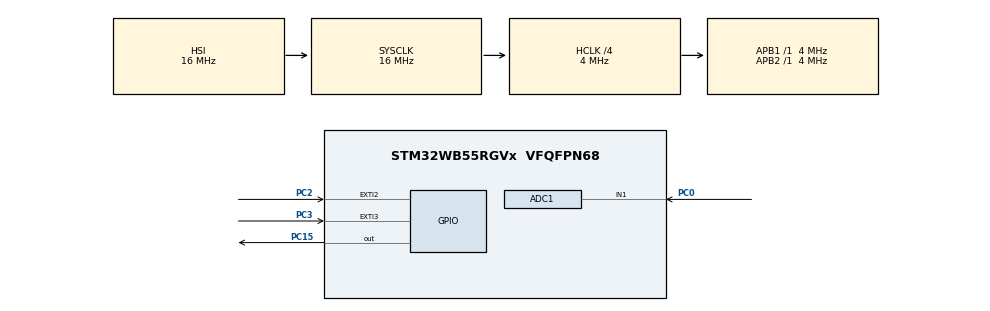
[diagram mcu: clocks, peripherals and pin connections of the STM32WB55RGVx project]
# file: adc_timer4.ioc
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ADC1.ContinuousConvMode=ENABLE
ADC1.ExternalTrigConv=ADC_SOFTWARE_START
ADC1.NbrOfConversionFlag=1
ADC1.Overrun=ADC_OVR_DATA_OVERWRITTEN
ADC1.master=1
Mcu.Family=STM32WB
Mcu.Name=STM32WB55RGVx
Mcu.Package=VFQFPN68
NVIC.ADC1_IRQn=true\:3\:0\:true\:false\:true\:true\:true\:true
NVIC.EXTI2_IRQn=true\:1\:0\:true\:false\:true\:true\:true\:true
NVIC.EXTI3_IRQn=true\:2\:0\:true\:false\:true\:true\:true\:true
NVIC.PriorityGroup=NVIC_PRIORITYGROUP_4
OSC_IN.Mode=HSE-External-Oscillator
OSC_IN.Signal=RCC_OSC_IN
OSC_OUT.Mode=HSE-External-Oscillator
OSC_OUT.Signal=RCC_OSC_OUT
PC0.Signal=ADCx_IN1
PC15-OSC32_OUT.Signal=GPIO_Output
PC2.Signal=GPXTI2
PC3.Signal=GPXTI3
ProjectManager.HeapSize=0x200
ProjectManager.StackSize=0x400
ProjectManager.TargetToolchain=STM32CubeIDE
RCC.ADCFreq_Value=48000000
RCC.AHB2CLKDivider=RCC_SYSCLK_DIV4
RCC.AHBCLKDivider=RCC_SYSCLK_DIV4
RCC.AHBFreq_Value=4000000
RCC.APB1Freq_Value=4000000
RCC.APB1TimFreq_Value=4000000
RCC.APB2Freq_Value=4000000
RCC.APB2TimFreq_Value=4000000
RCC.APB3Freq_Value=16000000
RCC.Cortex2_Div=SYSTICK_CLKSOURCE_HCLK_DIV8
RCC.CortexFreq_Value=4000000
RCC.HCLKFreq_Value=4000000
RCC.HSE_VALUE=32000000
RCC.HSI48_VALUE=48000000
RCC.HSI_VALUE=16000000
RCC.LSE_VALUE=32768
RCC.PLLSAI1N=6
RCC.PLLSourceVirtual=RCC_PLLSOURCE_HSI
RCC.SMPSCLockSelection=RCC_SMPSCLKSOURCE_HSI
RCC.SMPSCLockSelectionVirtual=RCC_SMPSCLKSOURCE_HSI
RCC.SMPSCLockSelectionVirtualVirtual=RCC_SMPSCLKSOURCE_HSI
RCC.SMPSDivider=1
RCC.SYSCLKFreq_VALUE=16000000
RCC.SYSCLKSource=RCC_SYSCLKSOURCE_HSI
RCC.USBFreq_Value=48000000
RCC.VCOOutputFreq_Value=128000000
SH.ADCx_IN1.0=ADC1_IN1,IN1-Single-Ended
VP_MEMORYMAP_VS_MEMORYMAP.Mode=CurAppReg
VP_TIM16_VS_ClockSourceINT.Mode=Enable_Timer
VP_TIM17_VS_ClockSourceINT.Mode=Enable_Timer
board=P-NUCLEO-WB55-NUCLEO

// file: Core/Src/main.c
/* USER CODE BEGIN Header */
/**
  ******************************************************************************
  * @file           : main.c
  * @brief          : Main program body
  ******************************************************************************
  * @attention
  *
  * Copyright (c) 2025 STMicroelectronics.
  * All rights reserved.
  *
  * This software is licensed under terms that can be found in the LICENSE file
  * in the root directory of this software component.
  * If no LICENSE file comes with this software, it is provided AS-IS.
  *
  ******************************************************************************
  */
/* USER CODE END Header */
#include "main.h"

/* USER CODE BEGIN PTD */
typedef struct  {
	uint32_t pDeltaTime;
	uint32_t pCurrentTime;
	uint32_t pLastTime;
	uint32_t pFrequency;

}WATERFLOWIN1;

WATERFLOWIN1 waterflowin1;
typedef struct  {
	uint32_t pDeltaTime;
	uint32_t pCurrentTime;
	uint32_t pLastTime;
	uint32_t pFrequency;

}WATERFLOWIN2;

WATERFLOWIN2 waterflowin2;
/* USER CODE END PTD */

ADC_HandleTypeDef hadc1;

TIM_HandleTypeDef htim16;
TIM_HandleTypeDef htim17;

/* USER CODE BEGIN PV */
volatile uint32_t AD_RES = 0;
float constant = 62500.0;

//volatile uint32_t tim16_count = 0;
//volatile uint32_t tim17_count = 0;

/* USER CODE END PV */

void SystemClock_Config(void);
void PeriphCommonClock_Config(void);
static void MX_GPIO_Init(void);
static void MX_ADC1_Init(void);
static void MX_TIM16_Init(void);
static void MX_TIM17_Init(void);
/* USER CODE BEGIN PFP */
void Delay_ms(uint32_t Count)
{
    uint32_t i=0;
    for(i =0; i< Count; i++)
    {

    }
}
/* USER CODE END PFP */

/* USER CODE BEGIN 0 */
void HAL_GPIO_EXTI_Callback(uint16_t GPIO_Pin)
{
    if (GPIO_Pin == GPIO_PIN_2)
    {

    //do some task

    }
    else if (GPIO_Pin == GPIO_PIN_3)
    {
    	//do some task
    }
    __HAL_GPIO_EXTI_CLEAR_IT(GPIO_Pin);

}

//void HAL_TIM_PeriodElapsedCallback(TIM_HandleTypeDef *htim)
//{
//    if (htim->Instance == TIM16)
//    {
//
//    	tim16_count = TIM16->CNT;
//    	cnt1++;
//
//    }
//    else if (htim->Instance == TIM17){
//    	tim17_count = TIM17->CNT;
//    	cnt2++;
//    }
//
//}

//
//void HAL_ADC_ConvCpltCallback(ADC_HandleTypeDef* hadc)
//{
//    if (hadc->Instance == ADC1)
//    {
//        AD_RES = HAL_ADC_GetValue(hadc);
//
//    }
//}

/* USER CODE END 0 */

int main(void)
{

  /* MCU Configuration--------------------------------------------------------*/

  /* Reset of all peripherals, Initializes the Flash interface and the Systick. */
  HAL_Init();

  /* Configure the system clock */
  SystemClock_Config();

  /* Configure the peripherals common clocks */
  PeriphCommonClock_Config();

  /* Initialize all configured peripherals */
  MX_GPIO_Init();
  MX_ADC1_Init();
  MX_TIM16_Init();
  MX_TIM17_Init();
  /* USER CODE BEGIN 2 */

  //HAL_ADC_Start_IT(&hadc1);

  HAL_TIM_Base_Start(&htim16);
  HAL_TIM_Base_Start(&htim17);

  HAL_GPIO_WritePin(GPIOC, GPIO_PIN_2, GPIO_PIN_RESET);
  HAL_GPIO_WritePin(GPIOC, GPIO_PIN_3, GPIO_PIN_RESET);

  // Start ADC Conversion
  /* USER CODE END 2 */

  /* Infinite loop */
  while (1)
  {
		//1.START the ADC.
		HAL_ADC_Start(&hadc1);

		//2.poll for conversion
		if (HAL_ADC_PollForConversion(&hadc1, 100) == HAL_OK)
                {

                // 3. Read ADC value only if conversion was successful
		AD_RES = HAL_ADC_GetValue(&hadc1);

		}

		//4.STOP the ADC
		HAL_ADC_Stop(&hadc1);
		HAL_GPIO_TogglePin(GPIOC, GPIO_PIN_15);
		Delay_ms(AD_RES*100);

  }
}

void SystemClock_Config(void)
{
  RCC_OscInitTypeDef RCC_OscInitStruct = {0};
  RCC_ClkInitTypeDef RCC_ClkInitStruct = {0};

  /** Macro to configure the PLL multiplication factor
  */
  __HAL_RCC_PLL_PLLM_CONFIG(RCC_PLLM_DIV1);

  /** Macro to configure the PLL clock source
  */
  __HAL_RCC_PLL_PLLSOURCE_CONFIG(RCC_PLLSOURCE_HSI);

  /** Configure the main internal regulator output voltage
  */
  __HAL_PWR_VOLTAGESCALING_CONFIG(PWR_REGULATOR_VOLTAGE_SCALE1);

  /** Initializes the RCC Oscillators according to the specified parameters
  * in the RCC_OscInitTypeDef structure.
  */
  RCC_OscInitStruct.OscillatorType = RCC_OSCILLATORTYPE_HSI|RCC_OSCILLATORTYPE_HSE;
  RCC_OscInitStruct.HSEState = RCC_HSE_ON;
  RCC_OscInitStruct.HSIState = RCC_HSI_ON;
  RCC_OscInitStruct.HSICalibrationValue = RCC_HSICALIBRATION_DEFAULT;
  RCC_OscInitStruct.PLL.PLLState = RCC_PLL_NONE;
  if (HAL_RCC_OscConfig(&RCC_OscInitStruct) != HAL_OK)
  {
    Error_Handler();
  }

  /** Configure the SYSCLKSource, HCLK, PCLK1 and PCLK2 clocks dividers
  */
  RCC_ClkInitStruct.ClockType = RCC_CLOCKTYPE_HCLK4|RCC_CLOCKTYPE_HCLK2
                              |RCC_CLOCKTYPE_HCLK|RCC_CLOCKTYPE_SYSCLK
                              |RCC_CLOCKTYPE_PCLK1|RCC_CLOCKTYPE_PCLK2;
  RCC_ClkInitStruct.SYSCLKSource = RCC_SYSCLKSOURCE_HSI;
  RCC_ClkInitStruct.AHBCLKDivider = RCC_SYSCLK_DIV4;
  RCC_ClkInitStruct.APB1CLKDivider = RCC_HCLK_DIV1;
  RCC_ClkInitStruct.APB2CLKDivider = RCC_HCLK_DIV1;
  RCC_ClkInitStruct.AHBCLK2Divider = RCC_SYSCLK_DIV4;
  RCC_ClkInitStruct.AHBCLK4Divider = RCC_SYSCLK_DIV1;

  if (HAL_RCC_ClockConfig(&RCC_ClkInitStruct, FLASH_LATENCY_0) != HAL_OK)
  {
    Error_Handler();
  }
}

void PeriphCommonClock_Config(void)
{
  RCC_PeriphCLKInitTypeDef PeriphClkInitStruct = {0};

  /** Initializes the peripherals clock
  */
  PeriphClkInitStruct.PeriphClockSelection = RCC_PERIPHCLK_SMPS;
  PeriphClkInitStruct.SmpsClockSelection = RCC_SMPSCLKSOURCE_HSI;
  PeriphClkInitStruct.SmpsDivSelection = RCC_SMPSCLKDIV_RANGE0;

  if (HAL_RCCEx_PeriphCLKConfig(&PeriphClkInitStruct) != HAL_OK)
  {
    Error_Handler();
  }
}

static void MX_ADC1_Init(void)
{

  /* USER CODE BEGIN ADC1_Init 0 */
	 ADC_ChannelConfTypeDef sConfig = {0};
  /* USER CODE END ADC1_Init 0 */

  /** Common config
  */
  hadc1.Instance = ADC1;
  hadc1.Init.ClockPrescaler = ADC_CLOCK_ASYNC_DIV1;
  hadc1.Init.Resolution = ADC_RESOLUTION_12B;
  hadc1.Init.DataAlign = ADC_DATAALIGN_RIGHT;
  hadc1.Init.ScanConvMode = ADC_SCAN_DISABLE;
  hadc1.Init.EOCSelection = ADC_EOC_SINGLE_CONV;
  hadc1.Init.LowPowerAutoWait = DISABLE;
  hadc1.Init.ContinuousConvMode = ENABLE;
  hadc1.Init.NbrOfConversion = 1;
  hadc1.Init.DiscontinuousConvMode = DISABLE;
  hadc1.Init.ExternalTrigConv = ADC_SOFTWARE_START;
  hadc1.Init.ExternalTrigConvEdge = ADC_EXTERNALTRIGCONVEDGE_NONE;
  hadc1.Init.DMAContinuousRequests = DISABLE;
  hadc1.Init.Overrun = ADC_OVR_DATA_OVERWRITTEN;
  hadc1.Init.OversamplingMode = DISABLE;
  if (HAL_ADC_Init(&hadc1) != HAL_OK)
  {
    Error_Handler();
  }
  /* USER CODE BEGIN ADC1_Init 2 */
   sConfig.Channel = ADC_CHANNEL_1;  // Choose the correct channel where you connected 3.3V
   sConfig.Rank = ADC_REGULAR_RANK_1;
   sConfig.SamplingTime = ADC_SAMPLETIME_2CYCLES_5;
   sConfig.SingleDiff = ADC_SINGLE_ENDED;
   sConfig.OffsetNumber = ADC_OFFSET_NONE;
   sConfig.Offset = 0;
   if (HAL_ADC_ConfigChannel(&hadc1, &sConfig) != HAL_OK)
   {
     Error_Handler();
   }
  /* USER CODE END ADC1_Init 2 */

}

static void MX_TIM16_Init(void)
{

  htim16.Instance = TIM16;
  htim16.Init.Prescaler = 64;
  htim16.Init.CounterMode = TIM_COUNTERMODE_UP;
  htim16.Init.Period = 65535;
  htim16.Init.ClockDivision = TIM_CLOCKDIVISION_DIV1;
  htim16.Init.RepetitionCounter = 0;
  htim16.Init.AutoReloadPreload = TIM_AUTORELOAD_PRELOAD_DISABLE;
  if (HAL_TIM_Base_Init(&htim16) != HAL_OK)
  {
    Error_Handler();
  }

}

static void MX_TIM17_Init(void)
{

  htim17.Instance = TIM17;
  htim17.Init.Prescaler = 64;
  htim17.Init.CounterMode = TIM_COUNTERMODE_UP;
  htim17.Init.Period = 65535;
  htim17.Init.ClockDivision = TIM_CLOCKDIVISION_DIV1;
  htim17.Init.RepetitionCounter = 0;
  htim17.Init.AutoReloadPreload = TIM_AUTORELOAD_PRELOAD_DISABLE;
  if (HAL_TIM_Base_Init(&htim17) != HAL_OK)
  {
    Error_Handler();
  }

}

static void MX_GPIO_Init(void)
{
  GPIO_InitTypeDef GPIO_InitStruct = {0};

  /* GPIO Ports Clock Enable */
  __HAL_RCC_GPIOC_CLK_ENABLE();

  /*Configure GPIO pin Output Level */
  HAL_GPIO_WritePin(GPIOC, GPIO_PIN_15, GPIO_PIN_RESET);

  /*Configure GPIO pin : PC15 */
  GPIO_InitStruct.Pin = GPIO_PIN_15;
  GPIO_InitStruct.Mode = GPIO_MODE_OUTPUT_PP;
  GPIO_InitStruct.Pull = GPIO_NOPULL;
  GPIO_InitStruct.Speed = GPIO_SPEED_FREQ_LOW;
  HAL_GPIO_Init(GPIOC, &GPIO_InitStruct);

  /*Configure GPIO pins : PC2 PC3 */
  GPIO_InitStruct.Pin = GPIO_PIN_2|GPIO_PIN_3;
  GPIO_InitStruct.Mode = GPIO_MODE_IT_RISING;
  GPIO_InitStruct.Pull = GPIO_NOPULL;
  HAL_GPIO_Init(GPIOC, &GPIO_InitStruct);

  /* EXTI interrupt init*/
  HAL_NVIC_SetPriority(EXTI2_IRQn, 1, 0);
  HAL_NVIC_EnableIRQ(EXTI2_IRQn);

  HAL_NVIC_SetPriority(EXTI3_IRQn, 2, 0);
  HAL_NVIC_EnableIRQ(EXTI3_IRQn);

}

void Error_Handler(void)
{
  __disable_irq();
  while (1)
  {
  }
}
